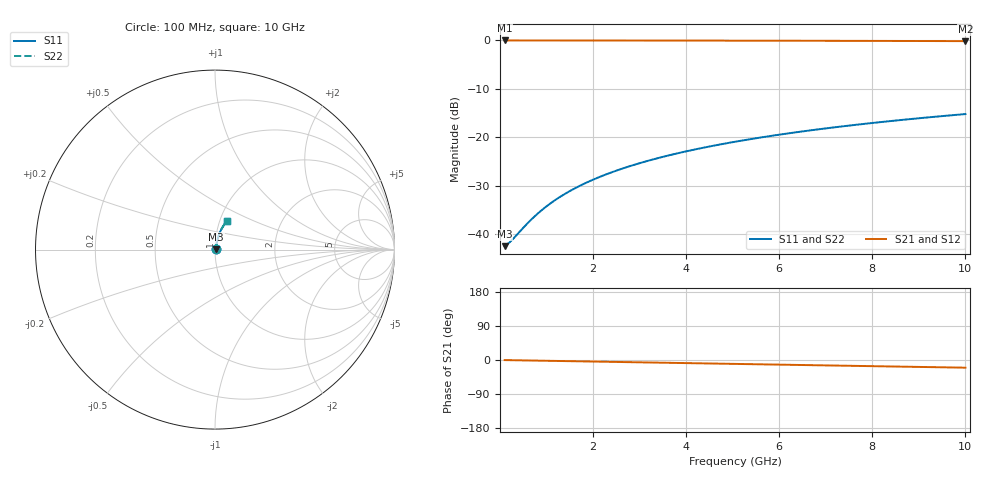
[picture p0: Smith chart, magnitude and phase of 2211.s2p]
# Hz S RI R 50.00
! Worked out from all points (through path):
!   100 points, 100 MHz to 10 GHz, reference 50 ohm
!   highest |S21| = -0.06 dB at 100 MHz (marker M1); lowest = -0.2 dB at 10 GHz (marker M2)
!   group delay of S21, straight-line fit = 5.63 ps
!   lowest |S11| = -42.5 dB at 100 MHz (marker M3), VSWR 1.02, Z = 50.7 + j0.178 ohm
!   |S11| at or under -10 dB: start of sweep to end of sweep
!   |S22| runs from -42.5 to -15.3 dB; largest |S21 - S12| = 0
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1e8  0.00729 0.00175  0.9927 -0.00354  0.9927 -0.00354  0.00729 0.00175
2e8  0.00736 0.00351  0.9926 -0.00709  0.9926 -0.00709  0.00736 0.00351
3e8  0.00742 0.00526  0.9926 -0.0106  0.9926 -0.0106  0.00742 0.00526
5e8  0.00757 0.00877  0.9924 -0.0177  0.9924 -0.0177  0.00757 0.00877
7e8  0.00776 0.0123  0.9921 -0.0248  0.9921 -0.0248  0.00776 0.0123
8e8  0.00787 0.014  0.992 -0.0283  0.992 -0.0283  0.00787 0.014
1e9  0.00813 0.0175  0.9917 -0.0354  0.9917 -0.0354  0.00813 0.0175
1.2e9  0.00843 0.021  0.9913 -0.0425  0.9913 -0.0425  0.00843 0.021
1.4e9  0.00878 0.0245  0.9909 -0.0495  0.9909 -0.0495  0.00878 0.0245
1.6e9  0.00918 0.028  0.9904 -0.0566  0.9904 -0.0566  0.00918 0.028
1.8e9  0.00963 0.0315  0.9898 -0.0637  0.9898 -0.0637  0.00963 0.0315
2.1e9  0.0104 0.0367  0.9889 -0.0742  0.9889 -0.0742  0.0104 0.0367
2.5e9  0.0116 0.0436  0.9874 -0.0883  0.9874 -0.0883  0.0116 0.0436
2.9e9  0.0129 0.0504  0.9857 -0.1023  0.9857 -0.1023  0.0129 0.0504
3.4e9  0.0149 0.0589  0.9832 -0.1198  0.9832 -0.1198  0.0149 0.0589
4.2e9  0.0187 0.0724  0.9784 -0.1475  0.9784 -0.1475  0.0187 0.0724
5.1e9  0.0239 0.0872  0.9718 -0.1784  0.9718 -0.1784  0.0239 0.0872
5.9e9  0.0292 0.1  0.965 -0.2056  0.965 -0.2056  0.0292 0.1
6.7e9  0.0353 0.1124  0.9573 -0.2324  0.9573 -0.2324  0.0353 0.1124
7.5e9  0.042 0.1245  0.9487 -0.2588  0.9487 -0.2588  0.042 0.1245
8.4e9  0.0504 0.1375  0.938 -0.288  0.938 -0.288  0.0504 0.1375
1e10  0.0671 0.1592  0.9165 -0.3384  0.9165 -0.3384  0.0671 0.1592
